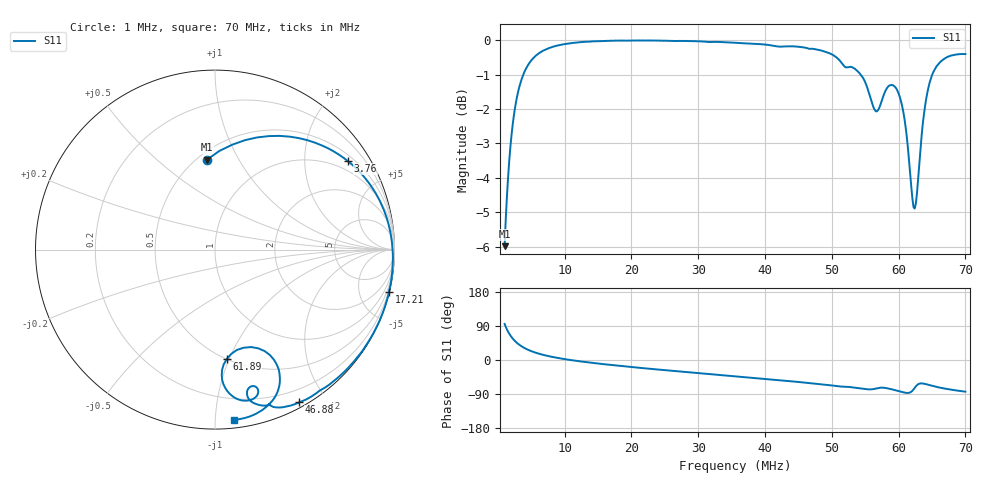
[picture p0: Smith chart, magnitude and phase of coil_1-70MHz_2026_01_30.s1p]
# HZ S RI R 50
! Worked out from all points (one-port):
!   401 points, 1 MHz to 70 MHz, reference 50 ohm
!   lowest |S11| = -6.0 dB at 1 MHz (marker M1), VSWR 3.02, Z = 27.8 + j37.2 ohm
!   |S11| at or under -10 dB: nowhere
!   S11 on the Smith chart (normalised r, x): 1 MHz: 0.56, +0.74; 3.76 MHz: 0.67, +3.17; 17.21 MHz: 0.08, -8.37; 46.88 MHz: 0.06, -1.69; 61.89 MHz: 0.50, -0.98; 70 MHz: 0.05, -1.12
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1000000  -0.0457 0.5002
2035000  0.3588 0.6337
2897500  0.5937 0.581
3760000  0.7397 0.4935
4795000  0.8434 0.3893
6002500  0.9117 0.2842
9625000  0.9836 0.0577
1.7215e7  0.9697 -0.2351
1.825e7  0.9619 -0.2669
2.6875e7  0.8656 -0.495
3.55e7  0.7235 -0.6776
4.4125e7  0.541 -0.8166
4.6885e7  0.4686 -0.851
5.275e7  0.2911 -0.867
5.551e7  0.1822 -0.8209
5.67175e7  0.2057 -0.7607
5.7925e7  0.2382 -0.8054
5.965e7  0.1428 -0.8389
6.05125e7  0.0783 -0.7997
6.1375e7  0.0373 -0.6995
6.18925e7  0.0653 -0.61
6.241e7  0.16 -0.5467
6.2755e7  0.2407 -0.5499
6.32725e7  0.3281 -0.613
6.39625e7  0.3616 -0.7163
6.49975e7  0.3316 -0.8252
6.60325e7  0.2791 -0.8813
7e7  0.1069 -0.9486
